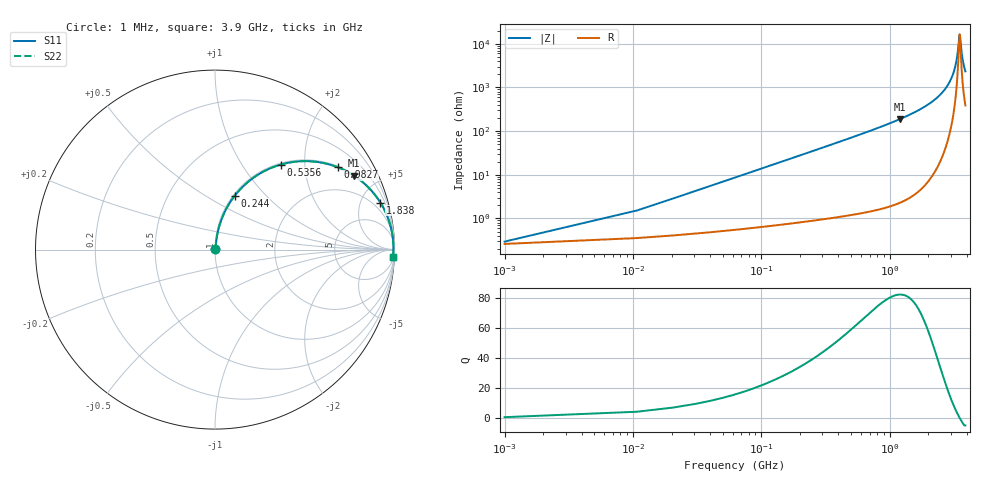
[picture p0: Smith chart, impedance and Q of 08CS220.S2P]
! Coilcraft 0805CS-220 Chip Inductor
! 11 June 2002
# MHZ S MA R 50
!Freq  MagS11  AngS11  MagS21  AngS21  MagS12  AngS12  MagS22  AngS22
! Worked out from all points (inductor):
!   403 points, 1 MHz to 3.9 GHz, reference 50 ohm
!   read as one part in series: L = 22 nH near 20.44 MHz
!   highest Q = 82.4 at 1.197 GHz (marker M1), where L = 24.9 nH
!   self-resonance near 3.51 GHz
!   S11 on the Smith chart (normalised r, x): 1 MHz: 1.01, +0.00; 244 MHz: 1.02, +0.68; 535.6 MHz: 1.02, +1.52; 982.7 MHz: 1.04, +2.95; 1.838 GHz: 1.11, +6.99; 3.9 GHz: 9, -46
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1  0.002952 27.8  0.9974 -0.1  0.9974 -0.1  0.002952 27.8
30.16  0.04171 81.5  0.9947 -2.4  0.9947 -2.4  0.04171 81.5
49.6  0.06826 81.8  0.9926 -3.9  0.9926 -3.9  0.06826 81.8
69.04  0.09467 81.2  0.9899 -5.4  0.9899 -5.4  0.09467 81.2
137.08  0.1853 77.2  0.9758 -10.7  0.9758 -10.7  0.1853 77.2
244  0.3186 69.9  0.9397 -18.6  0.9397 -18.6  0.3186 69.9
370.36  0.4561 61.7  0.8808 -27.1  0.8808 -27.1  0.4561 61.7
535.6  0.5994 52.2  0.7907 -36.8  0.7907 -36.8  0.5994 52.2
652.24  0.6775 46.5  0.7256 -42.6  0.7256 -42.6  0.6775 46.5
982.72  0.8227 33.9  0.5583 -55.3  0.5583 -55.3  0.8227 33.9
1196.56  0.8775 28.0  0.4691 -61.3  0.4691 -61.3  0.8775 28.0
1303.48  0.8977 25.5  0.4298 -63.8  0.4298 -63.8  0.8977 25.5
1838.08  0.9576 15.9  0.2741 -73.2  0.2741 -73.2  0.9576 15.9
1954.72  0.965 14.3  0.2469 -74.8  0.2469 -74.8  0.965 14.3
2605.96  0.9879 7.1  0.1239 -80.8  0.1239 -80.8  0.9879 7.1
2994.76  0.9928 3.8  0.06635 -81.9  0.06635 -81.9  0.9928 3.8
3257.2  0.994 1.8  0.03215 -78.4  0.03215 -78.4  0.994 1.8
3373.84  0.9941 1.0  0.01821 -70.6  0.01821 -70.6  0.9941 1.0
3490.48  0.994 0.2  0.006902 -29.3  0.006902 -29.3  0.994 0.2
3519.64  0.9939 -0.0  0.006081 0.0  0.006081 0.0  0.9939 -0.0
3694.6  0.9933 -1.1  0.02085 70.7  0.02085 70.7  0.9933 -1.1
3900  0.9921 -2.4  0.04249 78.0  0.04249 78.0  0.9921 -2.4
